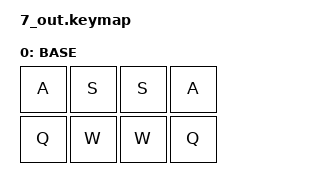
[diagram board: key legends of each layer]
/ {
    keymap {
        compatible = "zmk,keymap";

        // BEGIN keymap
        BASE {
            display-name = "BASE";
            bindings = <
&kp A &kp S &kp S &kp A
&kp Q &kp W &kp W &kp Q
            >;
        };
        // END keymap
    };
};
